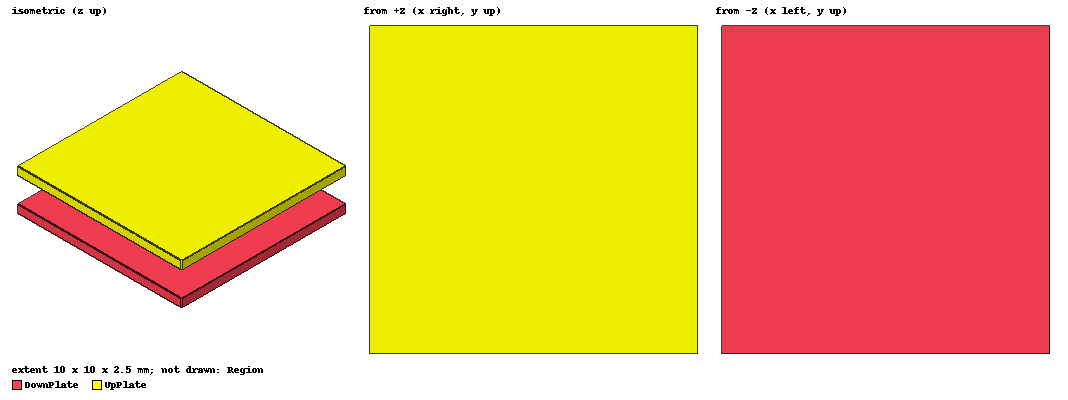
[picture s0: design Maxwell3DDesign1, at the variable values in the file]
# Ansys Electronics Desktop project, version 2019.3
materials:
  vacuum: permittivity=1
  pec: conductivity=1e+30

design Maxwell3DDesign1 (Maxwell 3D, Electrostatic, model units mm)
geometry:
  DownPlate [pec] = box(corner=(0mm, 0mm, 0mm), size=(10mm, 10mm, 0.5mm))
  UpPlate [pec] = box(corner=(0mm, 0mm, 2mm), size=(10mm, 10mm, 0.5mm))
  Region [vacuum] = region(percentage_offset=0 on all sides)
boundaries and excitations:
  Voltage1: Voltage Objects=DownPlate Voltage=0V
  Voltage2: Voltage Objects=UpPlate Voltage=5V
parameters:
  Matrix1: Matrix Voltage1, Voltage2: NumberOfTurns=1
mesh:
  initial mesh: GlobalCurvilinear{Apply}
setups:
  Setup1: Electrostatic MaximumPasses=10 MinimumPasses=2 MinimumConvergedPasses=1 PercentRefinement=30 PercentError=1 NonLinearResidual=0.001
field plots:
  Mag_E1: E in DownPlate, UpPlate, Region on Setup1 : LastAdaptive
